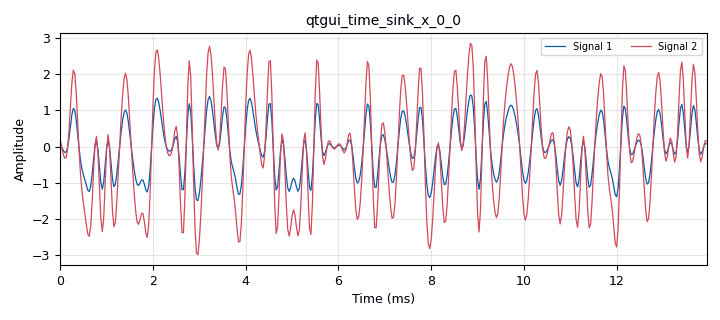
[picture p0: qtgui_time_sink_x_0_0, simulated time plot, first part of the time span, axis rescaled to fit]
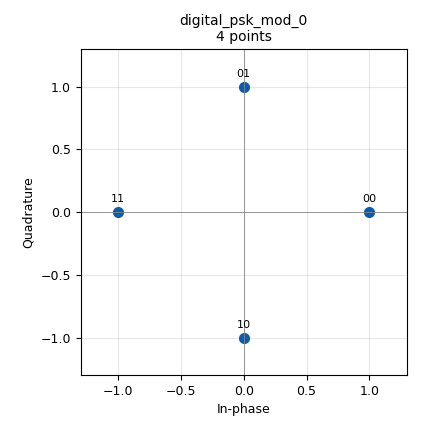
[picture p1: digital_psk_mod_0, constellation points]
options:
  parameters:
    category: Custom
    generate_options: qt_gui
    id: pyqt_mytime_sink
    output_language: python
  states: {}

blocks:
- name: freq_bw
  id: variable_qtgui_range
  parameters:
    gui_hint: 1, 0, 1, 2
    orient: Qt.Horizontal
    start: '0'
    step: '0.001'
    stop: '0.1'
    value: '0'
  states: {}
- name: freq_offset
  id: variable_qtgui_range
  parameters:
    gui_hint: 0, 1, 1, 1
    label: Frequency Offset
    orient: Qt.Horizontal
    start: '-.5'
    step: '0.01'
    stop: '.5'
    value: '0'
  states: {}
- name: noise_amp
  id: variable_qtgui_range
  parameters:
    gui_hint: 0, 0, 1, 1
    label: Channel Noise
    orient: Qt.Horizontal
    start: '0'
    step: '0.01'
    stop: '1'
    value: '0'
  states: {}
- name: rolloff
  id: variable
  parameters:
    value: '0.35'
  states: {}
- name: samp_rate
  id: variable
  parameters:
    value: '32000'
  states: {}
- name: sps
  id: variable
  parameters:
    value: '4'
  states: {}
- name: analog_random_source_x
  id: analog_random_source_x
  parameters:
    max: '256'
    min: '0'
    num_samps: '10000000'
    repeat: 'True'
    type: byte
  states: {}
- name: blocks_complex_to_real_0
  id: blocks_complex_to_real
  parameters: {}
  states: {}
- name: blocks_complex_to_real_0_0
  id: blocks_complex_to_real
  parameters: {}
  states: {}
- name: blocks_multiply_const_vxx_0
  id: blocks_multiply_const_vxx
  parameters:
    const: '2'
    type: complex
  states: {}
- name: blocks_throttle_0
  id: blocks_throttle
  parameters:
    samples_per_second: samp_rate
    type: complex
  states: {}
- name: channels_channel_model_0
  id: channels_channel_model
  parameters:
    epsilon: '1.0'
    freq_offset: freq_offset
    noise_voltage: noise_amp
    seed: '42'
    taps: '1.0'
  states: {}
- name: digital_psk_mod_0
  id: digital_psk_mod
  parameters:
    constellation_points: '4'
    differential: 'False'
    excess_bw: rolloff
    mod_code: '"gray"'
    samples_per_symbol: sps
  states: {}
- name: notebook
  id: qtgui_tab_widget
  parameters:
    gui_hint: 2, 0, 1, 2
    label0: Eye Sink (Float)
    label1: Eye Sink (Complex)
    num_tabs: '2'
  states: {}
- name: qtgui_time_sink_x_0
  id: qtgui_time_sink_x
  parameters:
    entags: 'False'
    gui_hint: notebook@1
    nconnections: '2'
    size: '1024'
    srate: samp_rate
    type: complex
  states: {state: disabled}
- name: qtgui_time_sink_x_0_0
  id: qtgui_time_sink_x
  parameters:
    entags: 'False'
    gui_hint: notebook@0
    nconnections: '2'
    size: '1024'
    srate: samp_rate
    type: float
  states: {}

connections:
- [analog_random_source_x, '0', digital_psk_mod_0, '0']
- [blocks_complex_to_real_0, '0', qtgui_time_sink_x_0_0, '0']
- [blocks_complex_to_real_0_0, '0', qtgui_time_sink_x_0_0, '1']
- [blocks_multiply_const_vxx_0, '0', blocks_complex_to_real_0_0, '0']
- [blocks_multiply_const_vxx_0, '0', qtgui_time_sink_x_0, '1']
- [blocks_throttle_0, '0', channels_channel_model_0, '0']
- [channels_channel_model_0, '0', blocks_complex_to_real_0, '0']
- [channels_channel_model_0, '0', blocks_multiply_const_vxx_0, '0']
- [channels_channel_model_0, '0', qtgui_time_sink_x_0, '0']
- [digital_psk_mod_0, '0', blocks_throttle_0, '0']

metadata:
  file_format: 1
